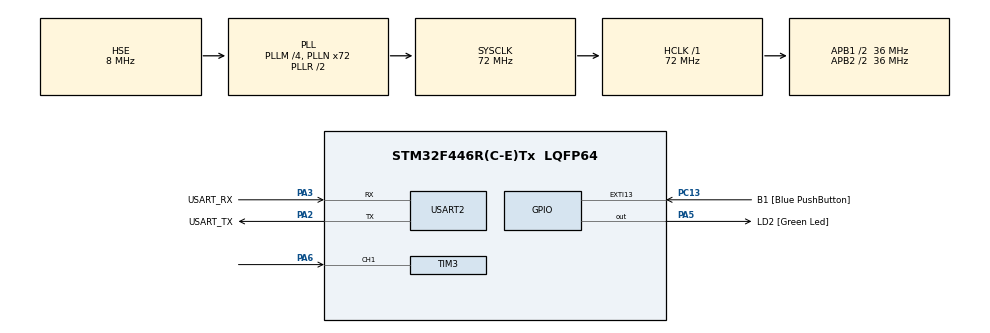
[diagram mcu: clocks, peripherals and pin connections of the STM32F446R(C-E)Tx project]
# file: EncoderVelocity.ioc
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Mcu.Family=STM32F4
Mcu.Name=STM32F446R(C-E)Tx
Mcu.Package=LQFP64
NVIC.PriorityGroup=NVIC_PRIORITYGROUP_0
NVIC.TIM3_IRQn=true\:0\:0\:false\:false\:true\:true
PA13.GPIO_Label=TMS
PA13.Mode=Serial_Wire
PA13.Signal=SYS_JTMS-SWDIO
PA14.GPIO_Label=TCK
PA14.Mode=Serial_Wire
PA14.Signal=SYS_JTCK-SWCLK
PA2.GPIO_Label=USART_TX
PA2.Mode=Asynchronous
PA2.Signal=USART2_TX
PA3.GPIO_Label=USART_RX
PA3.Mode=Asynchronous
PA3.Signal=USART2_RX
PA5.GPIO_Label=LD2 [Green Led]
PA5.Signal=GPIO_Output
PA6.GPIO_PuPd=GPIO_PULLUP
PA6.Signal=S_TIM3_CH1
PB3.GPIO_Label=SWO
PB3.Signal=SYS_JTDO-SWO
PC13.GPIO_Label=B1 [Blue PushButton]
PC13.GPIO_ModeDefaultEXTI=GPIO_MODE_IT_FALLING
PC13.Signal=GPXTI13
PC14-OSC32_IN.Mode=LSE-External-Oscillator
PC14-OSC32_IN.Signal=RCC_OSC32_IN
PC15-OSC32_OUT.Mode=LSE-External-Oscillator
PC15-OSC32_OUT.Signal=RCC_OSC32_OUT
PH0-OSC_IN.Mode=HSE-External-Oscillator
PH0-OSC_IN.Signal=RCC_OSC_IN
PH1-OSC_OUT.Mode=HSE-External-Oscillator
PH1-OSC_OUT.Signal=RCC_OSC_OUT
ProjectManager.HeapSize=0x200
ProjectManager.StackSize=0x400
ProjectManager.TargetToolchain=TrueSTUDIO
RCC.48MHZClocksFreq_Value=84000000
RCC.AHBFreq_Value=72000000
RCC.APB1CLKDivider=RCC_HCLK_DIV2
RCC.APB1Freq_Value=36000000
RCC.APB1TimFreq_Value=72000000
RCC.APB2CLKDivider=RCC_HCLK_DIV2
RCC.APB2Freq_Value=36000000
RCC.APB2TimFreq_Value=72000000
RCC.CortexFreq_Value=72000000
RCC.FLatency-AdvancedSettings=FLASH_LATENCY_2
RCC.HCLKFreq_Value=72000000
RCC.HSE_VALUE=8000000
RCC.HSI_VALUE=16000000
RCC.PLLM=4
RCC.PLLN=72
RCC.PLLP=RCC_PLLP_DIV4
RCC.PLLSourceVirtual=RCC_PLLSOURCE_HSE
RCC.SYSCLKFreq_VALUE=72000000
RCC.SYSCLKSource=RCC_SYSCLKSOURCE_PLLRCLK
RCC.USBFreq_Value=72000000
RCC.VCOOutputFreq_Value=144000000
SH.S_TIM3_CH1.0=TIM3_CH1,Input_Capture1_from_TI1
SH.S_TIM3_CH1.1=TIM3_CH1,Input_Capture2_from_TI1
SH.S_TIM3_CH1.2=TIM3_CH1,TriggerSource_TI1FP1
TIM2.Period=29999
TIM2.Prescaler=89
TIM3.Channel-Input_Capture1_from_TI1=TIM_CHANNEL_1
TIM3.Channel-Input_Capture2_from_TI1=TIM_CHANNEL_2
TIM3.ICFilter_CH1=15
TIM3.ICPolarity_CH2=TIM_INPUTCHANNELPOLARITY_FALLING
TIM3.Period=29999
TIM3.Prescaler=72-1
USART2.VirtualMode=VM_ASYNC
VP_TIM2_VS_ClockSourceINT.Mode=Internal
VP_TIM3_VS_ClockSourceINT.Mode=Internal
VP_TIM3_VS_ControllerModeReset.Mode=Reset Mode
board=NUCLEO-F446RE

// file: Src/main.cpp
/**
  ******************************************************************************
  * @file           : main.c
  * @brief          : Main program body
  ******************************************************************************
  ** This notice applies to any and all portions of this file
  * that are not between comment pairs USER CODE BEGIN and
  * USER CODE END. Other portions of this file, whether
  * inserted by the user or by software development tools
  * are owned by their respective copyright owners.
  *
  * COPYRIGHT(c) 2018 STMicroelectronics
  *
  * Redistribution and use in source and binary forms, with or without modification,
  * are permitted provided that the following conditions are met:
  *   1. Redistributions of source code must retain the above copyright notice,
  *      this list of conditions and the following disclaimer.
  *   2. Redistributions in binary form must reproduce the above copyright notice,
  *      this list of conditions and the following disclaimer in the documentation
  *      and/or other materials provided with the distribution.
  *   3. Neither the name of STMicroelectronics nor the names of its contributors
  *      may be used to endorse or promote products derived from this software
  *      without specific prior written permission.
  *
  * THIS SOFTWARE IS PROVIDED BY THE COPYRIGHT HOLDERS AND CONTRIBUTORS "AS IS"
  * AND ANY EXPRESS OR IMPLIED WARRANTIES, INCLUDING, BUT NOT LIMITED TO, THE
  * IMPLIED WARRANTIES OF MERCHANTABILITY AND FITNESS FOR A PARTICULAR PURPOSE ARE
  * DISCLAIMED. IN NO EVENT SHALL THE COPYRIGHT HOLDER OR CONTRIBUTORS BE LIABLE
  * FOR ANY DIRECT, INDIRECT, INCIDENTAL, SPECIAL, EXEMPLARY, OR CONSEQUENTIAL
  * DAMAGES (INCLUDING, BUT NOT LIMITED TO, PROCUREMENT OF SUBSTITUTE GOODS OR
  * SERVICES; LOSS OF USE, DATA, OR PROFITS; OR BUSINESS INTERRUPTION) HOWEVER
  * CAUSED AND ON ANY THEORY OF LIABILITY, WHETHER IN CONTRACT, STRICT LIABILITY,
  * OR TORT (INCLUDING NEGLIGENCE OR OTHERWISE) ARISING IN ANY WAY OUT OF THE USE
  * OF THIS SOFTWARE, EVEN IF ADVISED OF THE POSSIBILITY OF SUCH DAMAGE.
  *
  ******************************************************************************
  */
#include "main.h"
#include "stm32f4xx_hal.h"

TIM_HandleTypeDef htim2;
TIM_HandleTypeDef htim3;

UART_HandleTypeDef huart2;

/* USER CODE BEGIN PV */
/* Private variables ---------------------------------------------------------*/

/* USER CODE END PV */

void SystemClock_Config(void);
static void MX_GPIO_Init(void);
static void MX_USART2_UART_Init(void);
static void MX_TIM2_Init(void);
static void MX_TIM3_Init(void);

/* USER CODE BEGIN PFP */
/* Private function prototypes -----------------------------------------------*/

/* USER CODE END PFP */

/* USER CODE BEGIN 0 */
#ifdef __GNUC__
#define PUTCHAR_PROTOTYPE int __io_putchar(int ch)
#else
#define PUTCHAR_PROTOTYPE int fputc(int ch, FILE *f)
#endif /* __GNUC__ */

#ifdef __cplusplus
 extern "C" {
#endif
void __io_putchar(uint8_t ch)
{
	HAL_UART_Transmit(&huart2, &ch, 1, 1);
}
#ifdef __cplusplus
}
#endif

 uint32_t IC1Value,IC2Value;
  float cycle=0,Width=0,DutyCycle=0,Freqency=0;
#define PI 3.13159265358979
  float velocity;
 void HAL_TIM_IC_CaptureCallback(TIM_HandleTypeDef *htim)
 {
 	if(htim->Instance==TIM3)
 	{
 		if(htim->Channel==HAL_TIM_ACTIVE_CHANNEL_1)
 		{//if CH1 is rising
 			IC1Value=HAL_TIM_ReadCapturedValue(htim,TIM_CHANNEL_1);//Read CH1 vale
 			TIM2->CNT=0;//Rest count
 			cycle=(float)IC1Value;//cycle of pwm

 		}
 		 if(htim->Channel==HAL_TIM_ACTIVE_CHANNEL_2)
 			{
 				IC2Value=HAL_TIM_ReadCasdpturedValue(htim,TIM_CHANNEL_2);//Read CH2 vale
 				Width=(float)IC2Value;//Width of pwm
 				DutyCycle=(Width*100)/cycle;//duty
 				Freqency=1000000*cycle;//freqency
 				velocity=(2*PI/100)/(cycle/1000000);
 			}
 		else{
 				cycle=0;
 				//DutyCycle=0;
 				//velocity=0;
 			}
 	}

 }

/* USER CODE END 0 */

int main(void)
{

  /* MCU Configuration----------------------------------------------------------*/

  /* Reset of all peripherals, Initializes the Flash interface and the Systick. */
  HAL_Init();

  /* Configure the system clock */
  SystemClock_Config();

  /* Initialize all configured peripherals */
  MX_GPIO_Init();
  MX_USART2_UART_Init();
  MX_TIM2_Init();
  MX_TIM3_Init();
  /* USER CODE BEGIN 2 */
  HAL_TIM_IC_Start_IT(&htim3, TIM_CHANNEL_1);
    	HAL_TIM_IC_Start_IT(&htim3, TIM_CHANNEL_2);
  /* USER CODE END 2 */

  /* Infinite loop */
  while (1)
  {

  /* USER CODE BEGIN 3 */
	  printf("Cycle %ld             \n", IC1Value);
	  	  		printf("Width %ld             \n", IC2Value);
	  	  		printf( "Duty %f             \n", DutyCycle);
	  	  		printf( "Freq %f  velocity %f        \r\n", Freqency,velocity);
	  	  		HAL_Delay(100);
  }
  /* USER CODE END 3 */

}

void SystemClock_Config(void)
{

  RCC_OscInitTypeDef RCC_OscInitStruct;
  RCC_ClkInitTypeDef RCC_ClkInitStruct;

    /**Configure the main internal regulator output voltage
    */
  __HAL_RCC_PWR_CLK_ENABLE();

  __HAL_PWR_VOLTAGESCALING_CONFIG(PWR_REGULATOR_VOLTAGE_SCALE3);

    /**Initializes the CPU, AHB and APB busses clocks
    */
  RCC_OscInitStruct.OscillatorType = RCC_OSCILLATORTYPE_HSE;
  RCC_OscInitStruct.HSEState = RCC_HSE_ON;
  RCC_OscInitStruct.PLL.PLLState = RCC_PLL_ON;
  RCC_OscInitStruct.PLL.PLLSource = RCC_PLLSOURCE_HSE;
  RCC_OscInitStruct.PLL.PLLM = 4;
  RCC_OscInitStruct.PLL.PLLN = 72;
  RCC_OscInitStruct.PLL.PLLP = RCC_PLLP_DIV4;
  RCC_OscInitStruct.PLL.PLLQ = 2;
  RCC_OscInitStruct.PLL.PLLR = 2;
  if (HAL_RCC_OscConfig(&RCC_OscInitStruct) != HAL_OK)
  {
    _Error_Handler(__FILE__, __LINE__);
  }

    /**Initializes the CPU, AHB and APB busses clocks
    */
  RCC_ClkInitStruct.ClockType = RCC_CLOCKTYPE_HCLK|RCC_CLOCKTYPE_SYSCLK
                              |RCC_CLOCKTYPE_PCLK1|RCC_CLOCKTYPE_PCLK2;
  RCC_ClkInitStruct.SYSCLKSource = RCC_SYSCLKSOURCE_PLLRCLK;
  RCC_ClkInitStruct.AHBCLKDivider = RCC_SYSCLK_DIV1;
  RCC_ClkInitStruct.APB1CLKDivider = RCC_HCLK_DIV2;
  RCC_ClkInitStruct.APB2CLKDivider = RCC_HCLK_DIV2;

  if (HAL_RCC_ClockConfig(&RCC_ClkInitStruct, FLASH_LATENCY_2) != HAL_OK)
  {
    _Error_Handler(__FILE__, __LINE__);
  }

    /**Configure the Systick interrupt time
    */
  HAL_SYSTICK_Config(HAL_RCC_GetHCLKFreq()/1000);

    /**Configure the Systick
    */
  HAL_SYSTICK_CLKSourceConfig(SYSTICK_CLKSOURCE_HCLK);

  /* SysTick_IRQn interrupt configuration */
  HAL_NVIC_SetPriority(SysTick_IRQn, 0, 0);
}

/* TIM2 init function */
static void MX_TIM2_Init(void)
{

  TIM_ClockConfigTypeDef sClockSourceConfig;
  TIM_MasterConfigTypeDef sMasterConfig;

  htim2.Instance = TIM2;
  htim2.Init.Prescaler = 89;
  htim2.Init.CounterMode = TIM_COUNTERMODE_UP;
  htim2.Init.Period = 29999;
  htim2.Init.ClockDivision = TIM_CLOCKDIVISION_DIV1;
  if (HAL_TIM_Base_Init(&htim2) != HAL_OK)
  {
    _Error_Handler(__FILE__, __LINE__);
  }

  sClockSourceConfig.ClockSource = TIM_CLOCKSOURCE_INTERNAL;
  if (HAL_TIM_ConfigClockSource(&htim2, &sClockSourceConfig) != HAL_OK)
  {
    _Error_Handler(__FILE__, __LINE__);
  }

  sMasterConfig.MasterOutputTrigger = TIM_TRGO_RESET;
  sMasterConfig.MasterSlaveMode = TIM_MASTERSLAVEMODE_DISABLE;
  if (HAL_TIMEx_MasterConfigSynchronization(&htim2, &sMasterConfig) != HAL_OK)
  {
    _Error_Handler(__FILE__, __LINE__);
  }

}

/* TIM3 init function */
static void MX_TIM3_Init(void)
{

  TIM_ClockConfigTypeDef sClockSourceConfig;
  TIM_SlaveConfigTypeDef sSlaveConfig;
  TIM_MasterConfigTypeDef sMasterConfig;
  TIM_IC_InitTypeDef sConfigIC;

  htim3.Instance = TIM3;
  htim3.Init.Prescaler = 72-1;
  htim3.Init.CounterMode = TIM_COUNTERMODE_UP;
  htim3.Init.Period = 29999;
  htim3.Init.ClockDivision = TIM_CLOCKDIVISION_DIV1;
  if (HAL_TIM_Base_Init(&htim3) != HAL_OK)
  {
    _Error_Handler(__FILE__, __LINE__);
  }

  sClockSourceConfig.ClockSource = TIM_CLOCKSOURCE_INTERNAL;
  if (HAL_TIM_ConfigClockSource(&htim3, &sClockSourceConfig) != HAL_OK)
  {
    _Error_Handler(__FILE__, __LINE__);
  }

  if (HAL_TIM_IC_Init(&htim3) != HAL_OK)
  {
    _Error_Handler(__FILE__, __LINE__);
  }

  sSlaveConfig.SlaveMode = TIM_SLAVEMODE_RESET;
  sSlaveConfig.InputTrigger = TIM_TS_TI1FP1;
  sSlaveConfig.TriggerPolarity = TIM_INPUTCHANNELPOLARITY_RISING;
  sSlaveConfig.TriggerFilter = 0;
  if (HAL_TIM_SlaveConfigSynchronization(&htim3, &sSlaveConfig) != HAL_OK)
  {
    _Error_Handler(__FILE__, __LINE__);
  }

  sMasterConfig.MasterOutputTrigger = TIM_TRGO_RESET;
  sMasterConfig.MasterSlaveMode = TIM_MASTERSLAVEMODE_DISABLE;
  if (HAL_TIMEx_MasterConfigSynchronization(&htim3, &sMasterConfig) != HAL_OK)
  {
    _Error_Handler(__FILE__, __LINE__);
  }

  sConfigIC.ICPolarity = TIM_INPUTCHANNELPOLARITY_RISING;
  sConfigIC.ICSelection = TIM_ICSELECTION_DIRECTTI;
  sConfigIC.ICPrescaler = TIM_ICPSC_DIV1;
  sConfigIC.ICFilter = 15;
  if (HAL_TIM_IC_ConfigChannel(&htim3, &sConfigIC, TIM_CHANNEL_1) != HAL_OK)
  {
    _Error_Handler(__FILE__, __LINE__);
  }

  sConfigIC.ICPolarity = TIM_INPUTCHANNELPOLARITY_FALLING;
  sConfigIC.ICSelection = TIM_ICSELECTION_INDIRECTTI;
  sConfigIC.ICFilter = 0;
  if (HAL_TIM_IC_ConfigChannel(&htim3, &sConfigIC, TIM_CHANNEL_2) != HAL_OK)
  {
    _Error_Handler(__FILE__, __LINE__);
  }

}

/* USART2 init function */
static void MX_USART2_UART_Init(void)
{

  huart2.Instance = USART2;
  huart2.Init.BaudRate = 115200;
  huart2.Init.WordLength = UART_WORDLENGTH_8B;
  huart2.Init.StopBits = UART_STOPBITS_1;
  huart2.Init.Parity = UART_PARITY_NONE;
  huart2.Init.Mode = UART_MODE_TX_RX;
  huart2.Init.HwFlowCtl = UART_HWCONTROL_NONE;
  huart2.Init.OverSampling = UART_OVERSAMPLING_16;
  if (HAL_UART_Init(&huart2) != HAL_OK)
  {
    _Error_Handler(__FILE__, __LINE__);
  }

}

/** Configure pins as
        * Analog
        * Input
        * Output
        * EVENT_OUT
        * EXTI
*/
static void MX_GPIO_Init(void)
{

  GPIO_InitTypeDef GPIO_InitStruct;

  /* GPIO Ports Clock Enable */
  __HAL_RCC_GPIOC_CLK_ENABLE();
  __HAL_RCC_GPIOH_CLK_ENABLE();
  __HAL_RCC_GPIOA_CLK_ENABLE();
  __HAL_RCC_GPIOB_CLK_ENABLE();

  /*Configure GPIO pin Output Level */
  HAL_GPIO_WritePin(LD2_GPIO_Port, LD2_Pin, GPIO_PIN_RESET);

  /*Configure GPIO pin : B1_Pin */
  GPIO_InitStruct.Pin = B1_Pin;
  GPIO_InitStruct.Mode = GPIO_MODE_IT_FALLING;
  GPIO_InitStruct.Pull = GPIO_NOPULL;
  HAL_GPIO_Init(B1_GPIO_Port, &GPIO_InitStruct);

  /*Configure GPIO pin : LD2_Pin */
  GPIO_InitStruct.Pin = LD2_Pin;
  GPIO_InitStruct.Mode = GPIO_MODE_OUTPUT_PP;
  GPIO_InitStruct.Pull = GPIO_NOPULL;
  GPIO_InitStruct.Speed = GPIO_SPEED_FREQ_LOW;
  HAL_GPIO_Init(LD2_GPIO_Port, &GPIO_InitStruct);

}

void _Error_Handler(char *file, int line)
{
  while(1)
  {
  }
}

/************************ (C) COPYRIGHT STMicroelectronics *****END OF FILE****/
